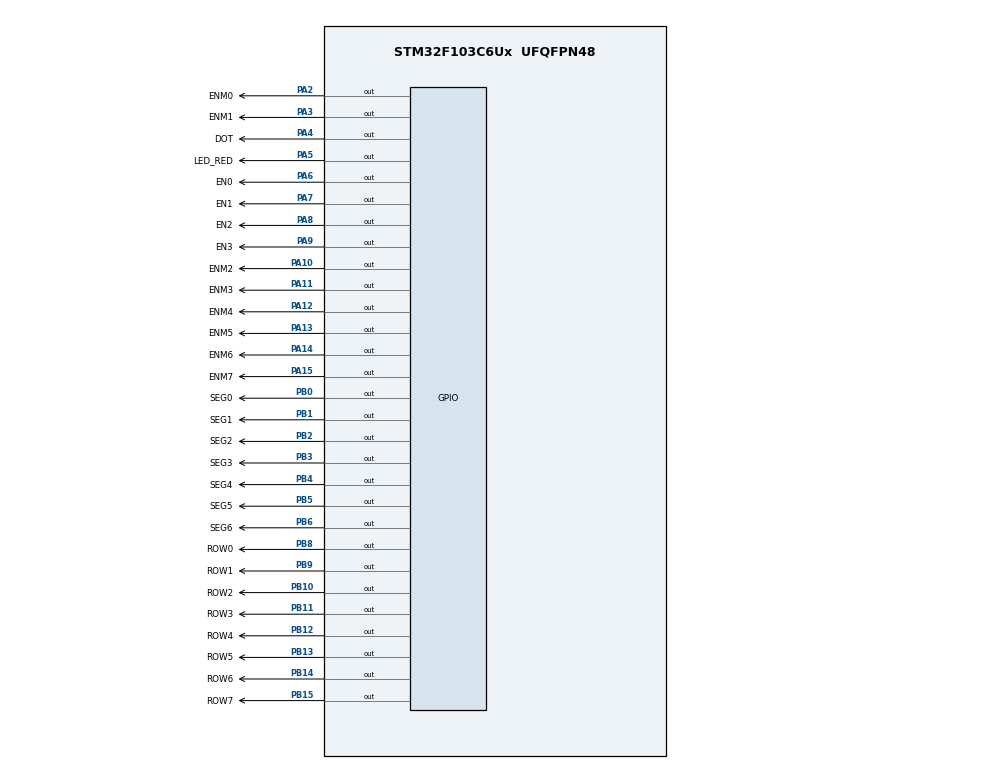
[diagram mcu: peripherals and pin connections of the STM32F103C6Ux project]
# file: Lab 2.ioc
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Mcu.Family=STM32F1
Mcu.Name=STM32F103C6Ux
Mcu.Package=UFQFPN48
NVIC.PriorityGroup=NVIC_PRIORITYGROUP_4
NVIC.TIM2_IRQn=true\:0\:0\:false\:false\:true\:true\:true\:true
PA10.GPIO_Label=ENM2
PA10.Signal=GPIO_Output
PA11.GPIO_Label=ENM3
PA11.Signal=GPIO_Output
PA12.GPIO_Label=ENM4
PA12.Signal=GPIO_Output
PA13.GPIO_Label=ENM5
PA13.Signal=GPIO_Output
PA14.GPIO_Label=ENM6
PA14.Signal=GPIO_Output
PA15.GPIO_Label=ENM7
PA15.Signal=GPIO_Output
PA2.GPIO_Label=ENM0
PA2.Signal=GPIO_Output
PA3.GPIO_Label=ENM1
PA3.Signal=GPIO_Output
PA4.GPIO_Label=DOT
PA4.Signal=GPIO_Output
PA5.GPIO_Label=LED_RED
PA5.Signal=GPIO_Output
PA6.GPIO_Label=EN0
PA6.Signal=GPIO_Output
PA7.GPIO_Label=EN1
PA7.Signal=GPIO_Output
PA8.GPIO_Label=EN2
PA8.Signal=GPIO_Output
PA9.GPIO_Label=EN3
PA9.Signal=GPIO_Output
PB0.GPIO_Label=SEG0
PB0.Signal=GPIO_Output
PB1.GPIO_Label=SEG1
PB1.Signal=GPIO_Output
PB10.GPIO_Label=ROW2
PB10.Signal=GPIO_Output
PB11.GPIO_Label=ROW3
PB11.Signal=GPIO_Output
PB12.GPIO_Label=ROW4
PB12.Signal=GPIO_Output
PB13.GPIO_Label=ROW5
PB13.Signal=GPIO_Output
PB14.GPIO_Label=ROW6
PB14.Signal=GPIO_Output
PB15.GPIO_Label=ROW7
PB15.Signal=GPIO_Output
PB2.GPIO_Label=SEG2
PB2.Signal=GPIO_Output
PB3.GPIO_Label=SEG3
PB3.Signal=GPIO_Output
PB4.GPIO_Label=SEG4
PB4.Signal=GPIO_Output
PB5.GPIO_Label=SEG5
PB5.Signal=GPIO_Output
PB6.GPIO_Label=SEG6
PB6.Signal=GPIO_Output
PB8.GPIO_Label=ROW0
PB8.Signal=GPIO_Output
PB9.GPIO_Label=ROW1
PB9.Signal=GPIO_Output
ProjectManager.HeapSize=0x200
ProjectManager.StackSize=0x400
ProjectManager.TargetToolchain=STM32CubeIDE
RCC.APB1Freq_Value=8000000
RCC.APB2Freq_Value=8000000
TIM2.Period=9
TIM2.Prescaler=7999
VP_SYS_VS_ND.Mode=No_Debug
VP_TIM2_VS_ClockSourceINT.Mode=Internal
board=custom

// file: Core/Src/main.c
/* USER CODE BEGIN Header */
/**
  ******************************************************************************
  * @file           : main.c
  * @brief          : Main program body
  ******************************************************************************
  * @attention
  *
  * Copyright (c) 2025 STMicroelectronics.
  * All rights reserved.
  *
  * This software is licensed under terms that can be found in the LICENSE file
  * in the root directory of this software component.
  * If no LICENSE file comes with this software, it is provided AS-IS.
  *
  ******************************************************************************
  */
/* USER CODE END Header */
#include "main.h"

TIM_HandleTypeDef htim2;

/* USER CODE BEGIN PV */

int counter = 0;

const int MAX_LED = 4;
int index_led = 0;
int led_buffer[4] = {0, 0, 0, 0};

const int MAX_LED_MATRIX = 8;
int index_led_matrix = 0;
uint8_t matrix_buffer[8] = {0x00, 0xFC, 0xFE, 0x33, 0x33, 0xFE, 0xFC, 0x00};
//uint8_t matrix_buffer [8] = {0x00, 0x00, 0x7C, 0x12, 0x12, 0x7C, 0x00, 0x00};

int hour = 15, minute = 8, second = 50;

int TIMER_CYCLE = 10;
int timer0_counter = 0;
int timer0_flag = 0;
int timer1_counter = 0;
int timer1_flag = 0;
int timer2_counter = 0;
int timer2_flag = 0;

int segmentMap[10] = {
	0b1111110, // 0
	0b0110000, // 1
	0b1101101, // 2
	0b1111001, // 3
	0b0110011, // 4
	0b1011011, // 5
	0b1011111, // 6
	0b1110000, // 7
	0b1111111, // 8
	0b1111011  // 9
};

int SEG_Pins[7] = {
	SEG0_Pin, SEG1_Pin, SEG2_Pin, SEG3_Pin, SEG4_Pin, SEG5_Pin, SEG6_Pin
};

int EN_Pins[4] = {
	EN0_Pin, EN1_Pin, EN2_Pin, EN3_Pin
};

int ENM_Pins[8] = {
	ENM0_Pin, ENM1_Pin, ENM2_Pin, ENM3_Pin, ENM4_Pin, ENM5_Pin, ENM6_Pin, ENM7_Pin
};

int ROW_Pins[8] = {
	ROW0_Pin, ROW1_Pin, ROW2_Pin, ROW3_Pin, ROW4_Pin, ROW5_Pin, ROW6_Pin, ROW7_Pin
};

/* USER CODE END PV */

void SystemClock_Config(void);
static void MX_GPIO_Init(void);
static void MX_TIM2_Init(void);

/* USER CODE BEGIN 0 */

void display7SEG(int num)
{
	int bitmask = segmentMap[num];

	for (int i = 0; i < 7; i++)
	{
		HAL_GPIO_WritePin(GPIOB, SEG_Pins[i], (bitmask & (1 << (6 - i))) ? RESET : SET);
	}
}

void displayLEDMatrix(int num_data)
{
    for (int i = 0; i < 8; i++)
    {
        HAL_GPIO_WritePin(GPIOB, ROW_Pins[i], (num_data & (1 << i)) ? RESET : SET);
    }
}

void update7SEG(int index)
{
	for (int i = 0; i < 4; i++)
	{
		HAL_GPIO_WritePin(GPIOA, EN_Pins[i], GPIO_PIN_SET);
	}

    switch (index) {
        case 0:
        	HAL_GPIO_WritePin(GPIOA, EN_Pins[0], GPIO_PIN_RESET);
        	display7SEG(led_buffer[0]);
            break;

        case 1:
        	HAL_GPIO_WritePin(GPIOA, EN_Pins[1], GPIO_PIN_RESET);
        	display7SEG(led_buffer[1]);
            break;

        case 2:
        	HAL_GPIO_WritePin(GPIOA, EN_Pins[2], GPIO_PIN_RESET);
        	display7SEG(led_buffer[2]);
            break;

        case 3:
        	HAL_GPIO_WritePin(GPIOA, EN_Pins[3], GPIO_PIN_RESET);
        	display7SEG(led_buffer[3]);
            break;

        default:
            break;
    }
}

void updateClockBuffer()
{
	led_buffer[0] = hour / 10;
	led_buffer[1] = hour % 10;
	led_buffer[2] = minute / 10;
	led_buffer[3] = minute % 10;
}

void updateLEDMatrix(int index) {
	for (int i = 0; i < 8; i++)
	{
		HAL_GPIO_WritePin(GPIOA, ENM_Pins[i], GPIO_PIN_SET);
	}

    switch (index) {
        case 0:
            HAL_GPIO_WritePin(GPIOA, ENM_Pins[0], GPIO_PIN_RESET);
            displayLEDMatrix(matrix_buffer[0]);
            break;
        case 1:
            HAL_GPIO_WritePin(GPIOA, ENM_Pins[1], GPIO_PIN_RESET);
            displayLEDMatrix(matrix_buffer[1]);
            break;
        case 2:
            HAL_GPIO_WritePin(GPIOA, ENM_Pins[2], GPIO_PIN_RESET);
            displayLEDMatrix(matrix_buffer[2]);
            break;
        case 3:
            HAL_GPIO_WritePin(GPIOA, ENM_Pins[3], GPIO_PIN_RESET);
            displayLEDMatrix(matrix_buffer[3]);
            break;
        case 4:
            HAL_GPIO_WritePin(GPIOA, ENM_Pins[4], GPIO_PIN_RESET);
            displayLEDMatrix(matrix_buffer[4]);
            break;
        case 5:
            HAL_GPIO_WritePin(GPIOA, ENM_Pins[5], GPIO_PIN_RESET);
            displayLEDMatrix(matrix_buffer[5]);
            break;
        case 6:
            HAL_GPIO_WritePin(GPIOA, ENM_Pins[6], GPIO_PIN_RESET);
            displayLEDMatrix(matrix_buffer[6]);
            break;
        case 7:
            HAL_GPIO_WritePin(GPIOA, ENM_Pins[7], GPIO_PIN_RESET);
            displayLEDMatrix(matrix_buffer[7]);
            break;
        default:
            break;
    }
}

void shiftMatrixLeft(void)
{
    uint8_t first = matrix_buffer[0];

    for (int i = 0; i < MAX_LED_MATRIX - 1; i++)
    {
        matrix_buffer[i] = matrix_buffer[i + 1];
    }

    matrix_buffer[MAX_LED_MATRIX - 1] = first;
}

void setTimer0(int duration) {
    timer0_counter = duration / TIMER_CYCLE;
    timer0_flag = 0;
}

void setTimer1(int duration) {
    timer1_counter = duration / TIMER_CYCLE;
    timer1_flag = 0;
}

void setTimer2(int duration) {
    timer2_counter = duration / TIMER_CYCLE;
    timer2_flag = 0;
}

void timer_run() {
	if (timer0_counter > 0) {
		timer0_counter--;

		if (timer0_counter == 0) timer0_flag = 1;
	}

	if (timer1_counter > 0) {
		timer1_counter--;

		if (timer1_counter == 0) timer1_flag = 1;
	}

	if (timer2_counter > 0) {
		timer2_counter--;

		if (timer2_counter == 0) timer2_flag = 1;
	}
}

/* USER CODE END 0 */

int main(void)
{

  /* MCU Configuration--------------------------------------------------------*/

  /* Reset of all peripherals, Initializes the Flash interface and the Systick. */
  HAL_Init();

  /* Configure the system clock */
  SystemClock_Config();

  /* Initialize all configured peripherals */
  MX_GPIO_Init();
  MX_TIM2_Init();
  /* USER CODE BEGIN 2 */

  HAL_TIM_Base_Start_IT(&htim2);

  /* USER CODE END 2 */

  /* Infinite loop */
  /* USER CODE BEGIN WHILE */

  setTimer0(TIMER_CYCLE);
  setTimer1(TIMER_CYCLE);
  setTimer2(TIMER_CYCLE);

  while (1)
  {
    /* USER CODE END WHILE */

    /* USER CODE BEGIN 3 */

	  if (timer0_flag == 1) {
		  updateClockBuffer();

		  second++;
		  if (second >= 60)
		  {
			  second = 0;
			  minute++;
		  }
		  if (minute >= 60)
		  {
			  minute = 0;
			  hour++;
		  }
		  if (hour >= 24)
		  {
			  hour = 0;
		  }

		  HAL_GPIO_TogglePin(GPIOA, DOT_Pin);

		  setTimer0(1000);
	  }

	  if (timer1_flag == 1) {
		  update7SEG(index_led++);
		  index_led %= MAX_LED;
		  setTimer1(250);
	  }

	  // the legit way
//	  if (timer2_flag == 1) {
//		  if (counter++ % 8 == 0) shiftMatrixLeft();
//
//		  updateLEDMatrix(index_led_matrix++);
//		  index_led_matrix %= MAX_LED_MATRIX;
//		  setTimer2(TIMER_CYCLE);
//	  }

	  // the workaround way
	  if (timer2_flag == 1) {
		  shiftMatrixLeft();
  		  setTimer2(250);
  	  }

	  for (int index_led_matrix = 0; index_led_matrix < MAX_LED_MATRIX; index_led_matrix++) {
		  updateLEDMatrix(index_led_matrix);
		  HAL_Delay(1);
	  }
  }
  /* USER CODE END 3 */
}

void SystemClock_Config(void)
{
  RCC_OscInitTypeDef RCC_OscInitStruct = {0};
  RCC_ClkInitTypeDef RCC_ClkInitStruct = {0};

  /** Initializes the RCC Oscillators according to the specified parameters
  * in the RCC_OscInitTypeDef structure.
  */
  RCC_OscInitStruct.OscillatorType = RCC_OSCILLATORTYPE_HSI;
  RCC_OscInitStruct.HSIState = RCC_HSI_ON;
  RCC_OscInitStruct.HSICalibrationValue = RCC_HSICALIBRATION_DEFAULT;
  RCC_OscInitStruct.PLL.PLLState = RCC_PLL_NONE;
  if (HAL_RCC_OscConfig(&RCC_OscInitStruct) != HAL_OK)
  {
    Error_Handler();
  }

  /** Initializes the CPU, AHB and APB buses clocks
  */
  RCC_ClkInitStruct.ClockType = RCC_CLOCKTYPE_HCLK|RCC_CLOCKTYPE_SYSCLK
                              |RCC_CLOCKTYPE_PCLK1|RCC_CLOCKTYPE_PCLK2;
  RCC_ClkInitStruct.SYSCLKSource = RCC_SYSCLKSOURCE_HSI;
  RCC_ClkInitStruct.AHBCLKDivider = RCC_SYSCLK_DIV1;
  RCC_ClkInitStruct.APB1CLKDivider = RCC_HCLK_DIV1;
  RCC_ClkInitStruct.APB2CLKDivider = RCC_HCLK_DIV1;

  if (HAL_RCC_ClockConfig(&RCC_ClkInitStruct, FLASH_LATENCY_0) != HAL_OK)
  {
    Error_Handler();
  }
}

static void MX_TIM2_Init(void)
{

  TIM_ClockConfigTypeDef sClockSourceConfig = {0};
  TIM_MasterConfigTypeDef sMasterConfig = {0};

  htim2.Instance = TIM2;
  htim2.Init.Prescaler = 7999;
  htim2.Init.CounterMode = TIM_COUNTERMODE_UP;
  htim2.Init.Period = 9;
  htim2.Init.ClockDivision = TIM_CLOCKDIVISION_DIV1;
  htim2.Init.AutoReloadPreload = TIM_AUTORELOAD_PRELOAD_DISABLE;
  if (HAL_TIM_Base_Init(&htim2) != HAL_OK)
  {
    Error_Handler();
  }
  sClockSourceConfig.ClockSource = TIM_CLOCKSOURCE_INTERNAL;
  if (HAL_TIM_ConfigClockSource(&htim2, &sClockSourceConfig) != HAL_OK)
  {
    Error_Handler();
  }
  sMasterConfig.MasterOutputTrigger = TIM_TRGO_RESET;
  sMasterConfig.MasterSlaveMode = TIM_MASTERSLAVEMODE_DISABLE;
  if (HAL_TIMEx_MasterConfigSynchronization(&htim2, &sMasterConfig) != HAL_OK)
  {
    Error_Handler();
  }

}

static void MX_GPIO_Init(void)
{
  GPIO_InitTypeDef GPIO_InitStruct = {0};

  /* GPIO Ports Clock Enable */
  __HAL_RCC_GPIOA_CLK_ENABLE();
  __HAL_RCC_GPIOB_CLK_ENABLE();

  /*Configure GPIO pin Output Level */
  HAL_GPIO_WritePin(GPIOA, ENM0_Pin|ENM1_Pin|DOT_Pin|LED_RED_Pin
                          |EN0_Pin|EN1_Pin|EN2_Pin|EN3_Pin
                          |ENM2_Pin|ENM3_Pin|ENM4_Pin|ENM5_Pin
                          |ENM6_Pin|ENM7_Pin, GPIO_PIN_RESET);

  /*Configure GPIO pin Output Level */
  HAL_GPIO_WritePin(GPIOB, SEG0_Pin|SEG1_Pin|SEG2_Pin|ROW2_Pin
                          |ROW3_Pin|ROW4_Pin|ROW5_Pin|ROW6_Pin
                          |ROW7_Pin|SEG3_Pin|SEG4_Pin|SEG5_Pin
                          |SEG6_Pin|ROW0_Pin|ROW1_Pin, GPIO_PIN_RESET);

  /*Configure GPIO pins : ENM0_Pin ENM1_Pin DOT_Pin LED_RED_Pin
                           EN0_Pin EN1_Pin EN2_Pin EN3_Pin
                           ENM2_Pin ENM3_Pin ENM4_Pin ENM5_Pin
                           ENM6_Pin ENM7_Pin */
  GPIO_InitStruct.Pin = ENM0_Pin|ENM1_Pin|DOT_Pin|LED_RED_Pin
                          |EN0_Pin|EN1_Pin|EN2_Pin|EN3_Pin
                          |ENM2_Pin|ENM3_Pin|ENM4_Pin|ENM5_Pin
                          |ENM6_Pin|ENM7_Pin;
  GPIO_InitStruct.Mode = GPIO_MODE_OUTPUT_PP;
  GPIO_InitStruct.Pull = GPIO_NOPULL;
  GPIO_InitStruct.Speed = GPIO_SPEED_FREQ_LOW;
  HAL_GPIO_Init(GPIOA, &GPIO_InitStruct);

  /*Configure GPIO pins : SEG0_Pin SEG1_Pin SEG2_Pin ROW2_Pin
                           ROW3_Pin ROW4_Pin ROW5_Pin ROW6_Pin
                           ROW7_Pin SEG3_Pin SEG4_Pin SEG5_Pin
                           SEG6_Pin ROW0_Pin ROW1_Pin */
  GPIO_InitStruct.Pin = SEG0_Pin|SEG1_Pin|SEG2_Pin|ROW2_Pin
                          |ROW3_Pin|ROW4_Pin|ROW5_Pin|ROW6_Pin
                          |ROW7_Pin|SEG3_Pin|SEG4_Pin|SEG5_Pin
                          |SEG6_Pin|ROW0_Pin|ROW1_Pin;
  GPIO_InitStruct.Mode = GPIO_MODE_OUTPUT_PP;
  GPIO_InitStruct.Pull = GPIO_NOPULL;
  GPIO_InitStruct.Speed = GPIO_SPEED_FREQ_LOW;
  HAL_GPIO_Init(GPIOB, &GPIO_InitStruct);

}

/* USER CODE BEGIN 4 */

void HAL_TIM_PeriodElapsedCallback(TIM_HandleTypeDef *htim)
{
	timer_run();
}

/* USER CODE END 4 */

void Error_Handler(void)
{
  __disable_irq();
  while (1)
  {
  }
}
